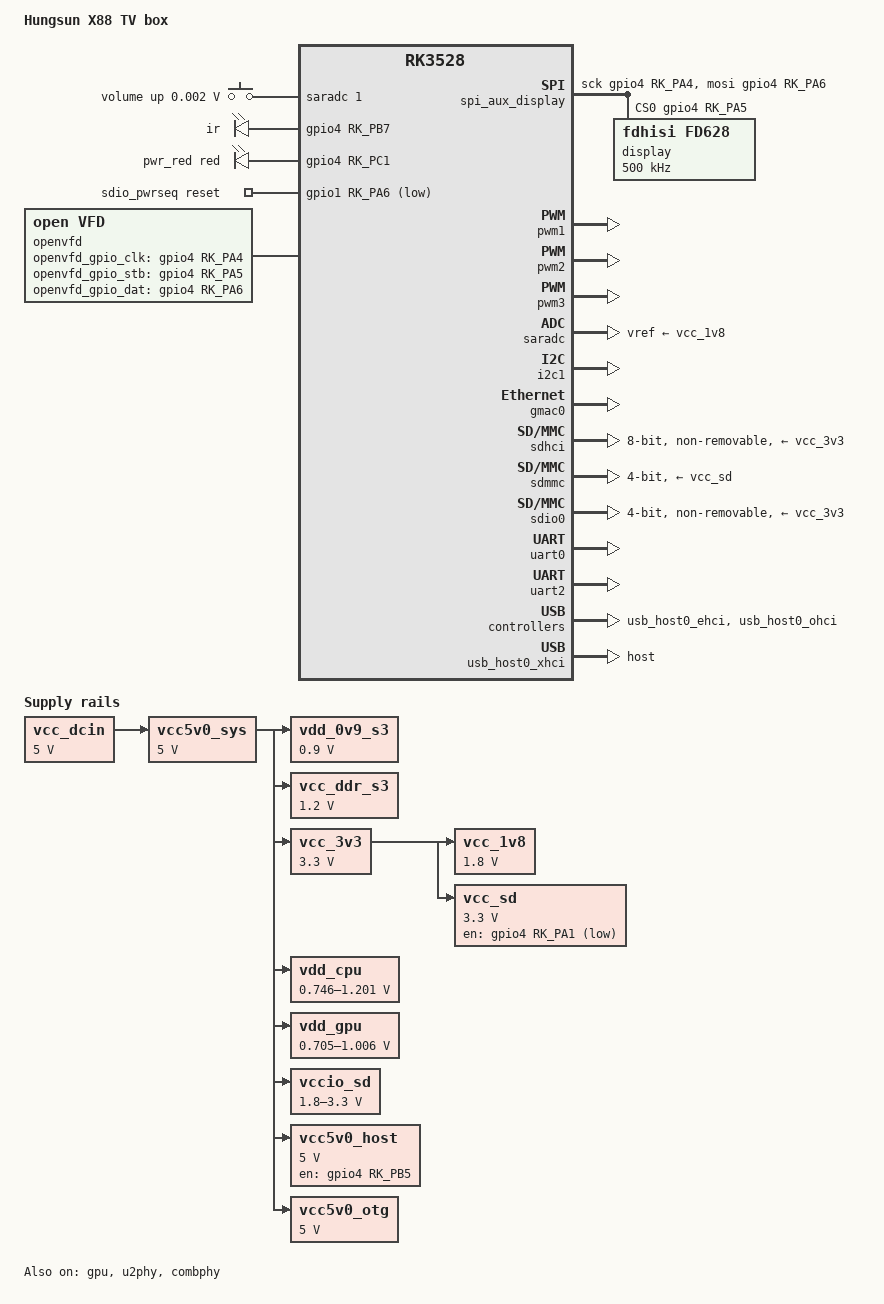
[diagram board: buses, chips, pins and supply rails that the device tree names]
// SPDX-License-Identifier: (GPL-2.0+ OR MIT)

/dts-v1/;

#include <dt-bindings/input/input.h>
#include <dt-bindings/leds/common.h>
#include <dt-bindings/pwm/pwm.h>
//#include <dt-bindings/gpio/gpio.h>
//#include <dt-bindings/pinctrl/rockchip.h>
//#include <dt-bindings/soc/rockchip,vop2.h>

#include "rk3528.dtsi"
#include "rk3528-x88pro.dtsi"

/ {
	model = "Hungsun X88 TV box";
	compatible = "hungsun,x88",  "rockchip,rk3528";
	version = "20260618";

	aliases {
		ethernet0 = &gmac0;
		mmc0 = &sdmmc;
		mmc1 = &sdhci;
		mmc2 = &sdio0;
		serial0 = &uart0;
	};

	chosen {
		stdout-path = "serial0:1500000n8";
	};

	adc_keys {
		compatible = "adc-keys";
		io-channels = <&saradc 1>;
		io-channel-names = "buttons";
		keyup-threshold-microvolt = <1800000>;
		poll-interval = <100>;

		button-vol-up {
			label = "volume up";
			linux,code = <KEY_VOLUMEUP>;
			press-threshold-microvolt = <1750>;
		};
	};

	gpio_leds: gpio-leds {
		compatible = "gpio-leds";
		pinctrl-names = "default";
		pinctrl-0 = <&ir_led &pwr_red_led>;

		ir {
			gpios = <&gpio4 RK_PB7 GPIO_ACTIVE_HIGH>;
			linux,default-trigger = "none";
			default-state = "off";
		};


		pwr_red {
			color = <LED_COLOR_ID_RED>;
			default-state = "off";
			function = LED_FUNCTION_HEARTBEAT;
			gpios = <&gpio4 RK_PC1 GPIO_ACTIVE_HIGH>;
			linux,default-trigger = "heartbeat";
			retain-state-suspended;
			retain-state-shutdown;
		};
	};

	vcc_dcin: regulator-vcc-dcin {
		compatible = "regulator-fixed";
		regulator-name = "vcc_dcin";
		regulator-always-on;
		regulator-boot-on;
		regulator-min-microvolt = <5000000>;
		regulator-max-microvolt = <5000000>;
	};

	vdd_0v9_s3: vdd-0v9-s3 {
		compatible = "regulator-fixed";
		regulator-name = "vdd_0v9_s3";
		regulator-always-on;
		regulator-boot-on;
		regulator-min-microvolt = <900000>;
		regulator-max-microvolt = <900000>;
		vin-supply = <&vcc5v0_sys>;
	};

	vcc_ddr_s3: vcc-ddr-s3 {
		compatible = "regulator-fixed";
		regulator-name = "vcc_ddr_s3";
		regulator-always-on;
		regulator-boot-on;
		regulator-min-microvolt = <1200000>;
		regulator-max-microvolt = <1200000>;
		vin-supply = <&vcc5v0_sys>;
	};

	vcc_1v8: regulator-1v8-vcc {
		compatible = "regulator-fixed";
		regulator-name = "vcc_1v8";
		regulator-always-on;
		regulator-boot-on;
		regulator-min-microvolt = <1800000>;
		regulator-max-microvolt = <1800000>;
		vin-supply = <&vcc_3v3>;
	};

	vcc_3v3: regulator-3v3-vcc {
		compatible = "regulator-fixed";
		regulator-name = "vcc_3v3";
		regulator-always-on;
		regulator-boot-on;
		regulator-min-microvolt = <3300000>;
		regulator-max-microvolt = <3300000>;
		vin-supply = <&vcc5v0_sys>;
	};

	vcc5v0_sys: vcc5v0-sys {
		compatible = "regulator-fixed";
		regulator-name = "vcc5v0_sys";
		regulator-always-on;
		regulator-boot-on;
		regulator-min-microvolt = <5000000>;
		regulator-max-microvolt = <5000000>;
		vin-supply = <&vcc_dcin>;
	};

	vdd_cpu: vdd-cpu {
		compatible = "pwm-regulator";
		pwms = <&pwm1 0 5000 PWM_POLARITY_INVERTED>;
		regulator-name = "vdd_cpu";
		regulator-min-microvolt = <746000>;
		regulator-max-microvolt = <1201000>;
		regulator-init-microvolt = <953000>;
		regulator-always-on;
		regulator-boot-on;
		regulator-settling-time-up-us = <250>;
		pwm-supply = <&vcc5v0_sys>;
		status = "okay";
	};

	vdd_gpu: vdd_logic: vdd-logic {
		compatible = "pwm-regulator";
		pwms = <&pwm2 0 5000 PWM_POLARITY_INVERTED>;
		regulator-name = "vdd_logic";
		regulator-min-microvolt = <705000>;
		regulator-max-microvolt = <1006000>;
		regulator-init-microvolt = <900000>;
		regulator-always-on;
		regulator-boot-on;
		regulator-settling-time-up-us = <250>;
		pwm-supply = <&vcc5v0_sys>;
		status = "okay";
	};

	vcc_sd: vcc-sd {
		compatible = "regulator-fixed";
		regulator-boot-on;
		/* no consumer in the DT: keep the Wi-Fi module powered */
		//regulator-always-on;
		gpio = <&gpio4 RK_PA1 GPIO_ACTIVE_LOW>;
		pinctrl-names = "default";
		pinctrl-0 = <&sdmmc_pwren_l>;
		regulator-name = "vcc_sd";
		regulator-min-microvolt = <3300000>;
		regulator-max-microvolt = <3300000>;
		vin-supply = <&vcc_3v3>;
	};

	vccio_sd: vccio-sd {
		compatible = "regulator-gpio";
		regulator-name = "vccio_sd";
		pinctrl-0 = <&sdmmc_vol_ctrl_h>;
		regulator-min-microvolt = <1800000>;
		regulator-max-microvolt = <3300000>;
		regulator-settling-time-up-us = <250>;
		gpios = <&gpio4 RK_PB6 GPIO_ACTIVE_HIGH>;
		vin-supply = <&vcc5v0_sys>;
		states = <1800000 0x0 3300000 0x1>;
	};

	vcc5v0_host: vcc5v0-host-regulator {
		compatible = "regulator-fixed";
		regulator-name = "vcc5v0_host";
		regulator-boot-on;
		regulator-always-on;
		regulator-min-microvolt = <5000000>;
		regulator-max-microvolt = <5000000>;
		enable-active-high;
		gpio = <&gpio4 RK_PB5 GPIO_ACTIVE_HIGH>;
		vin-supply = <&vcc5v0_sys>;
		pinctrl-names = "default";
		pinctrl-0 = <&usb20_host_drv>;
	};

	vcc5v0_otg: vcc5v0-otg-regulator {
		compatible = "regulator-fixed";
		regulator-name = "vcc5v0_otg";
		regulator-min-microvolt = <5000000>;
		regulator-max-microvolt = <5000000>;
		regulator-boot-on; 
		regulator-always-on;
		vin-supply = <&vcc5v0_sys>;
	};

	sdio_pwrseq: sdio-pwrseq {
		compatible = "mmc-pwrseq-simple";
		// clocks = <&clkm1_32k_out>;
		// clock-names = "ext_clock";
		pinctrl-names = "default";
		pinctrl-0 = <&wifi_enable_h>, <&clkm1_32k_out>;
		reset-gpios = <&gpio1 RK_PA6 GPIO_ACTIVE_LOW>;
		post-power-on-delay-ms = <140>;
		power-off-delay-us = <500000>;
		mmc-pwrseq = <&sdio_pwrseq>;
		status = "okay";
	};

	ir-receiver {
		compatible = "gpio-ir-receiver";
		gpios = <&gpio4 RK_PC6 GPIO_ACTIVE_LOW>;
		pinctrl-names = "default";
		pinctrl-0 = <&pwm3m0_pins>;
		linux,rc-map-name = "rc-rc6-mce";
		status = "disabled";
	};
	
	openvfd {
		compatible = "open,vfd";
		dev_name = "openvfd";
		openvfd_gpio_clk = <&gpio4 RK_PA4 GPIO_ACTIVE_HIGH>;
		openvfd_gpio_stb = <&gpio4 RK_PA5 GPIO_ACTIVE_HIGH>;
		openvfd_gpio_dat = <&gpio4 RK_PA6 GPIO_ACTIVE_HIGH>;
		openvfd_chars = [04 00 01 02 03];
		openvfd_dot_bits = [00 01 02 03 04 05 06];
		openvfd_display_type = <0x03 0x00 0x00 0x00>;
		status = "okay";
	};
	spi_aux_display: spi-aux-display {
		#address-cells = <1>;
		#size-cells = <0>;
		compatible = "spi-gpio";
		sck-gpios = <&gpio4 RK_PA4 GPIO_ACTIVE_HIGH>;
		mosi-gpios = <&gpio4 RK_PA6 GPIO_ACTIVE_HIGH>;
		cs-gpios = <&gpio4 RK_PA5 GPIO_ACTIVE_HIGH>;
		num-chipselects = <1>;

		display@0 {
			compatible = "fdhisi,fd628", "titanmec,tm1628";
			reg = <0>;
			spi-3wire;
			spi-lsb-first;
			spi-max-frequency = <500000>;
			default-brightness = <6>;
			max-brightness = <8>;
			poll-interval = <100>;
			label = "display";
			linux,keymap = <MATRIX_KEY(0, 0, KEY_F1)   /* Zeile 0 (K1), Spalte 0 */
                MATRIX_KEY(0, 2, KEY_F2)   /* Zeile 0 (K1), Spalte 2 */
                MATRIX_KEY(0, 4, KEY_F3)   /* Zeile 0 (K1), Spalte 4 */
                MATRIX_KEY(0, 6, KEY_F4)   /* Zeile 0 (K1), Spalte 6 */
                MATRIX_KEY(1, 1, KEY_F5)   /* Zeile 1 (K2), Spalte 1 */
                MATRIX_KEY(1, 3, KEY_F6)   /* Zeile 1 (K2), Spalte 3 */
                MATRIX_KEY(1, 5, KEY_F7)   /* Zeile 1 (K2), Spalte 5 */
                MATRIX_KEY(1, 7, KEY_F8)>; /* Zeile 1 (K2), Spalte 7 */

			digits {
				#address-cells = <1>;
				#size-cells = <0>;
				digit@0 {
					reg = <3>;
					segments = <0 0>, <0 1>, <0 2>, <0 3>, <0 4>, <0 5>, <0 6>;
				};
				digit@1 {
					reg = <2>;
					segments = <1 0>, <1 1>, <1 2>, <1 3>, <1 4>, <1 5>, <1 6>;
				};
				digit@2 {
					reg = <1>;
					segments = <2 0>, <2 1>, <2 2>, <2 3>, <2 4>, <2 5>, <2 6>;
				};
				digit@3 {
					reg = <0>;
					segments = <3 0>, <3 1>, <3 2>, <3 3>, <3 4>, <3 5>, <3 6>;
				};
			};

			leds {
				#address-cells = <2>;
				#size-cells = <0>;
				led@4,2 {
					reg = <4 2>;
					function = "power";
				};
				led@4,3 {
					reg = <4 3>;
					function = "lan";
				};
				led@4,4 {
					reg = <4 4>;
					function = "colon";
				};
				led@4,5 {
					reg = <4 5>;
					function = "wlan-lo";
				};
				led@4,6 {
					reg = <4 6>;
					function = "wlan-hi";
				};
			};
		};
	};

};

&cpu0 {
	cpu-supply = <&vdd_cpu>;
};

&cpu1 {
	cpu-supply = <&vdd_cpu>;
};

&cpu2 {
	cpu-supply = <&vdd_cpu>;
};

&cpu3 {
	cpu-supply = <&vdd_cpu>;
};

&gpu {
	mali-supply = <&vdd_gpu>;
	status = "okay";
};

/***TODO
&hdmi {
	status = "okay";
	hpd-gpios = <&gpio0 RK_PA2 GPIO_ACTIVE_HIGH>;
};

&hdmi_in_vp0 {
	status = "okay";
};

&hdmiphy {
	status = "okay";
};
*/

&pwm1 {
	pinctrl-names = "active";
	pinctrl-0 = <&pwm1m0_pins>;
	status = "okay";
};

&pwm2 {
	pinctrl-names = "active";
	pinctrl-0 = <&pwm2m0_pins>;
	status = "okay";
};

&pwm3 {
	compatible = "rockchip,remotectl-pwm";
	/delete-property/ #pwm-cells;
	pinctrl-names = "default";
	pinctrl-0 = <&pwm3m0_pins>;
	interrupts = <GIC_SPI 53 IRQ_TYPE_LEVEL_HIGH GIC_SPI 54 IRQ_TYPE_LEVEL_HIGH>;
	remote_pwm_id = <3>;
	handle_cpu_id = <1>;
	remote_support_psci = <0>;
	wakeup-source;
	status = "okay";

	ir_key5 {
		rockchip,usercode = <0xf708>;
		rockchip,key_table = <0xf5 0x71 0xfc 0x8d 0xf4 0x74 0x8c 0xb7 0x8b 0xb8 0x8a 0xb9 0x89 0xba 0xfa 0xbb 0xbd 0x66 0xed 0x67 0xea 0x69 0xe1 0xe8 0xeb 0x6a 0xbe 0x9e 0xec 0x6c 0xe8 0x8b 0xf1 0x73 0xef 0x68 0xe3 0x72 0xee 0x6d 0x8f 0x184 0x8e 0x80>;
	};

	ir_key6 {
		rockchip,usercode = <0xfe01>;
		rockchip,key_table = <0xec 0xe8 0xe6 0x9e 0xe9 0x67 0xe5 0x6c 0xae 0x69 0xaf 0x6a 0xee 0x66 0xe7 0x73 0xef 0x72 0xbf 0x74 0xbe 0x71 0xb3 0x8b 0xff 0x184 0xb1 0x02 0xf2 0x03 0xf3 0x04 0xb5 0x05 0xf6 0x06 0xf7 0x07 0xb9 0x08 0xfa 0x09 0xfb 0x0a 0xfe 0x0b 0xbb 0xbd 0xaa 0xa8 0xa5 0xa4 0xad 0x80 0xab 0xd0 0xbd 0x0e 0xbc 0x8d 0xf0 0xb8>;
	};

	ir_key12 {
		rockchip,usercode = <0x7f80>;
		rockchip,key_table = <0xec 0xe8 0xd8 0x9e 0xc7 0x67 0xbf 0x6c 0xc8 0x69 0xc6 0x6a 0x8c 0x66 0x78 0x73 0x76 0x72 0x7e 0x74 0xed 0x74 0x7c 0x8b 0xb7 0x184>;
	};

	ir_key13 {
		rockchip,usercode = <0x4040>;
		rockchip,key_table = <0xe5 0x66 0xbd 0x9e 0xba 0x8b 0xf2 0xe8 0xf4 0x67 0xf1 0x6c 0xef 0x69 0xee 0x6a 0xe3 0x72 0xea 0x73 0xe8 0x72 0xe7 0x73 0xbc 0x71 0xb2 0x74 0x4d 0x74 0xb8 0x184 0xbb 0x184 0xac 0xb7 0xa4 0xb8 0xa8 0xb9 0xab 0xba 0xe0 0x7b 0xe1 0x7a 0xfe 0x02 0xfd 0x03 0xfc 0x04 0xfb 0x05 0xfa 0x06 0xf9 0x07 0xf8 0x08 0xf7 0x09 0xf6 0x0a 0xff 0x0b 0xf0 0x39 0xf3 0x0e>;
	};

	ir_key14 {
		rockchip,usercode = <0x707>;
		rockchip,key_table = <0xfd 0x74 0xc1 0xa4 0xec 0x184 0x9f 0x67 0x9a 0x69 0x97 0xe8 0x9d 0x6a 0x9e 0x6c 0xd2 0x66 0xe5 0x8b 0xed 0xa8 0xef 0xd0 0x77 0xe7 0xf8 0x73 0xf4 0x72 0xa3 0x0e 0xf0 0x71>;
	};

	ir_key15 {
		rockchip,usercode = <0xdf00>;
		rockchip,key_table = <0xe3 0x74 0xb4 0x3f 0xfe 0x43 0xa2 0x73 0xb0 0x42 0xa0 0x44 0xa3 0x72 0xbd 0x66 0xf5 0x9e 0xe5 0x67 0xb8 0x69 0xf9 0xe8 0xf8 0x6a 0xb7 0x6c 0xfc 0x184 0xe7 0x8b 0xab 0x02 0xe9 0x03 0xea 0x04 0xaf 0x05 0xed 0x06 0xee 0x07 0xb3 0x08 0xf1 0x09 0xf2 0x0a 0xbe 0xe3 0xf3 0x0b 0xef 0x0e 0x1c 0x74 0x1a 0x67 0x47 0x69 0x06 0xe8 0x07 0x6a 0x48 0x6c 0x42 0x66 0x18 0x8b 0x5c 0x72 0x5d 0x73>;
	};

	ir_key16 {
		rockchip,usercode = <0x807f>;
		rockchip,key_table = <0x7e 0x74>;
	};

	ir_key17 {
		rockchip,usercode = <0xfd02>;
		rockchip,key_table = <0xf2 0xe8 0xec 0x9e 0xf6 0x67 0xee 0x6c 0xf5 0x69 0xf1 0x6a 0xef 0x66 0xf8 0x73 0xf9 0x72 0xf7 0x74 0xf4 0x71 0xf3 0x8b 0xbf 0x184 0xeb 0x02 0xea 0x03 0xe9 0x04 0xe7 0x05 0xe6 0x06 0xe5 0x07 0xe3 0x08 0xe2 0x09 0xe1 0x0a 0xbe 0x0b 0xbd 0x0e 0xe4 0x43 0xd4 0x44 0xf0 0x42 0xfb 0x7a 0xfa 0x7b 0xff 0xb7 0xfe 0xb8 0xfd 0xb9 0xfc 0xba>;
	};

	ir_key18 {
		rockchip,usercode = <0xef10>;
		rockchip,key_table = <0xa2 0x74 0xe8 0x73 0xec 0x72 0xa6 0x8d 0xa5 0x184 0xff 0x9e 0xba 0x67 0xf8 0x69 0xbe 0xe8 0xfe 0x6a 0xaa 0x6c 0xb9 0x66 0xfa 0x8b 0xe5 0xa8 0xa7 0xa4 0xe2 0xd0 0xa0 0x4d 0xb0 0x0b 0xa1 0x0e 0xaf 0x02 0xad 0x03 0xef 0x04 0xb3 0x05 0xb5 0x06 0xee 0x07 0xf0 0x08 0xb1 0x09 0xf2 0x0a>;
	};

	ir_key20 {
		rockchip,usercode = <0xf709>;
		rockchip,key_table = <0xf5 0x74 0xdd 0xba 0xff 0x67 0xfe 0x6c 0xfd 0x6a 0xfc 0x69 0xe0 0xe8 0xf3 0x66 0xb5 0x184 0xe3 0x9e 0x79 0xb7 0x8d 0xb9 0xa7 0x73 0xa2 0x72>;
	};
};

&saradc {
	vref-supply = <&vcc_1v8>;
	status = "okay";
};

&i2c1 {
	status = "okay";
	i2c-scl-rising-time-ns = <100>;
	i2c-scl-falling-time-ns = <30>;
	pinctrl-names = "default";
	pinctrl-0 = <&i2c1m0_xfer>;
};

&gmac0 {
	tx_delay = <0x30>;
	rx_delay = <0x3f>; 
	clock_in_out = "output";
	status = "okay";
};

&sdhci {
	bus-width = <8>;
	no-sd;
	no-sdio;
	non-removable;
	cap-mmc-highspeed;
	mmc-hs200-1_8v;
	mmc-hs400-1_8v;
	mmc-hs400-enhanced-strobe;
	max-frequency = <150000000>;
	supports-emmc;
	fixed-emmc-driver-type = <0x04>;
	vmmc-supply = <&vcc_3v3>;
	vqmmc-supply = <&vcc_1v8>;
	status = "okay";
};

&sdmmc {
	bus-width = <4>;
	cap-mmc-highspeed;
	cap-sd-highspeed;
	disable-wp;
	/* SDR104 at 100 MHz gave read errors and file corruption */
	max-frequency = <50000000>;
	//max-frequency = <150000000>;
	rockchip,default-sample-phase = <90>;
	supports-sd;
	sd-uhs-sdr12;
	sd-uhs-sdr25;
	sd-uhs-sdr50;
	sd-uhs-sdr104;
	vqmmc-supply = <&vccio_sd>;
	vmmc-supply = <&vcc_sd>;
	status = "okay";
};

&sdio0 {
	max-frequency = <150000000>;
	no-sd;
	no-mmc;
	supports-sdio;
	bus-width = <4>;
	disable-wp;
	cap-sd-highspeed;
	cap-sdio-irq;
	keep-power-in-suspend;
	pm-ignore-notify; 
	non-removable;
	mmc-pwrseq = <&sdio_pwrseq>;
	/delete-property/ rockchip,use-v2-tuning;
	vmmc-supply = <&vcc_3v3>;
	vqmmc-supply = <&vcc_1v8>;
	sd-uhs-sdr104;
	status = "okay";

};

&uart0 {
	status = "okay";
};

&uart2 {
	pinctrl-names = "default";
	pinctrl-0 = <&uart2m1_xfer &uart2m1_ctsn &uart2m1_rtsn>;
	status = "okay";
};

&u2phy {
	status = "okay";

	u2phy_host: host-port {
		phy-supply = <&vcc5v0_host>;
		status = "okay";
	};

	u2phy_otg: otg-port {
		phy-supply = <&vcc5v0_otg>;
		status = "disabled";
	};
};

&combphy {
	status = "okay";
};

&usb_host0_ehci {
	status = "okay";
};

&usb_host0_xhci {
	extcon = <&u2phy>;
	maximum-speed = "high-speed";
	dr_mode = "host";
	status = "okay";
};

&usb_host0_ohci {
	status = "okay";
};
/*
&pcie {
	pinctrl-names = "default";
	pinctrl-0 = <&pcie_reset>;
	reset-gpios = <&gpio1 RK_PA2 GPIO_ACTIVE_HIGH>;
	vpcie3v3-supply = <&vcc_3v3>;
	status = "disabled";
};
*/
&pinctrl {

	gpio-leds {
		ir_led: ir-led {
			rockchip,pins = <4 RK_PB7 RK_FUNC_GPIO &pcfg_pull_none>;
		};

		pwr_red_led: pwr-red-led {
			rockchip,pins = <4 RK_PC1 RK_FUNC_GPIO &pcfg_pull_none>;
		};
	};

	ir {
		pwm3_m0_ir_rx: pwm3-m0-ir-rx {
			rockchip,pins = <4 RK_PC6 RK_FUNC_GPIO &pcfg_pull_up>;
		};
	};

	sdmmc {
		sdmmc_pwren_l: sdmmc-pwren-l {
			rockchip,pins = <4 RK_PA1 RK_FUNC_GPIO &pcfg_pull_none>;
		};

		sdmmc_vol_ctrl_h: sdmmc-vol-ctrl-h {
			rockchip,pins = <4 RK_PB6 RK_FUNC_GPIO &pcfg_pull_none>;
		};
	};

	usb2 {
		usb20_host_drv: usb20-host-drv {
			rockchip,pins = <4 RK_PB5 RK_FUNC_GPIO &pcfg_pull_none>;
		};
	};

	sdio-pwrseq {
		wifi_enable_h: wifi-enable-h {
			rockchip,pins = <1 RK_PA6 RK_FUNC_GPIO &pcfg_pull_none>;
		};
	};

	wireless-wlan {
		wifi_host_wake_irq: wifi-host-wake-irq {
			rockchip,pins = <1 RK_PA7 RK_FUNC_GPIO &pcfg_pull_down>;
		};
	};

	wireless-bluetooth {
		uart2m1_gpios: uart2m1-gpios {
			rockchip,pins = <1 RK_PB2 RK_FUNC_GPIO &pcfg_pull_none>;
		};
	};
};


